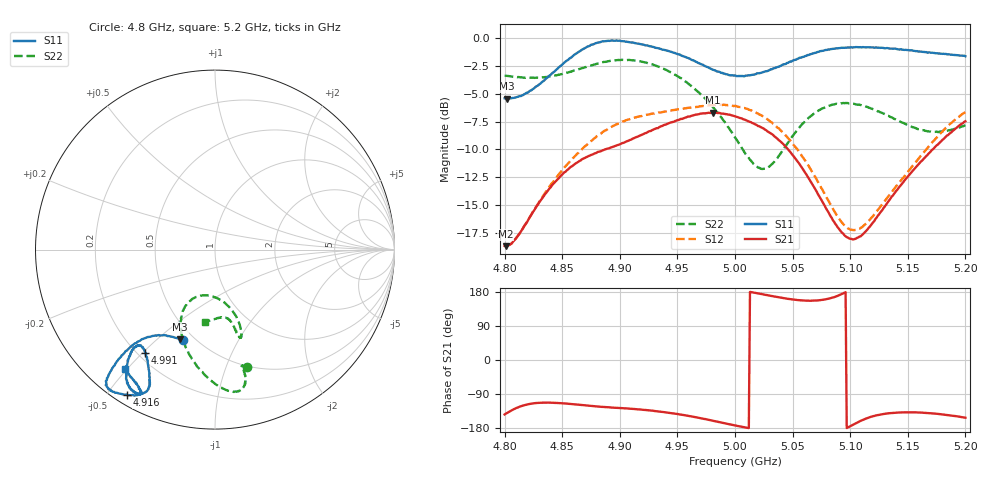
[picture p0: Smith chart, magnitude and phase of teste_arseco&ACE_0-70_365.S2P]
! Network Analyzer HP8722D
! Hewlett-Packard
! Data name: Linha & Wilkinson
! Saver's name: Rodrigo Anjos
! Comments: Teste da utilização de aquisição
! continua pelo VNA HP8722D
! Time and date: 8/5/2025 15:48
!  Frequency  S11  S21  S12  S22
# HZ  S  MA R 50
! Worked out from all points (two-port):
!   401 points, 4.8 GHz to 5.2 GHz, reference 50 ohm
!   highest |S21| = -6.69 dB at 4.981 GHz (marker M1); lowest = -18.7 dB at 4.801 GHz (marker M2)
!   |S21| within 3 dB of the highest: 4.896 GHz to 5.043 GHz (147.2 MHz wide, 2.96 % of centre); 5.174557 GHz to end of sweep
!   lowest |S11| = -5.4 dB at 4.802 GHz (marker M3), VSWR 3.31, Z = 21.3 - j29.8 ohm
!   |S11| at or under -10 dB: nowhere
!   |S22| runs from -11.8 to -1.9 dB; largest |S21 - S12| = 0.61
!   S11 on the Smith chart (normalised r, x): 4.8 GHz: 0.43, -0.61; 4.916 GHz: 0.04, -0.56; 4.991 GHz: 0.23, -0.51; 5.2 GHz: 0.11, -0.49
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4.8e9  0.5372 -109.6  0.1164 -143.7  0.1162 -88.0  0.6789 -74.7
4.801e9  0.5364 -110.4  0.1161 -141.7  0.116 -86.1  0.6787 -74.7
4.802e9  0.5357 -111.2  0.1162 -140.1  0.1166 -84.1  0.6775 -74.8
4.832e9  0.6332 -128.5  0.1888 -112.8  0.1905 -53.6  0.6668 -77.1
4.867e9  0.8886 -130.7  0.2854 -118.9  0.3164 -53.1  0.734 -76.6
4.887e9  0.9711 -128.5  0.3164 -124.2  0.3844 -57.6  0.7836 -78.3
4.916e9  0.947 -121.2  0.362 -130.4  0.444 -66.5  0.7905 -84.6
4.934e9  0.9012 -117.0  0.3977 -136.1  0.4643 -72.0  0.7444 -90.3
4.953e9  0.8389 -115.8  0.4342 -144.0  0.4808 -78.1  0.663 -98.2
4.981e9  0.7218 -121.4  0.4632 -160.5  0.5001 -89.9  0.4895 -112.7
4.991e9  0.6932 -124.1  0.4574 -167.0  0.5023 -94.8  0.421 -116.5
5e9  0.6812 -126.3  0.446 -172.6  0.4967 -100.1  0.3583 -117.8
5.016e9  0.6859 -128.9  0.4142 178.1  0.4687 -109.3  0.2727 -108.8
5.026e9  0.7094 -129.6  0.3884 172.2  0.4403 -115.2  0.2594 -95.6
5.047e9  0.7811 -128.3  0.3122 161.1  0.352 -124.9  0.3444 -74.8
5.067e9  0.8533 -125.5  0.2213 156.7  0.2507 -128.0  0.4516 -71.9
5.089e9  0.901 -122.0  0.1414 169.1  0.1582 -114.6  0.5062 -73.4
5.101e9  0.9119 -120.0  0.1252 -173.3  0.1376 -96.5  0.51 -74.2
5.113e9  0.9113 -118.5  0.1346 -155.7  0.1454 -78.0  0.4946 -75.0
5.134e9  0.8995 -117.4  0.1872 -140.4  0.1969 -60.2  0.4453 -76.1
5.169e9  0.865 -120.9  0.306 -140.4  0.3301 -55.0  0.3806 -82.5
5.2e9  0.8313 -127.1  0.4234 -152.3  0.4654 -65.4  0.4068 -97.9
